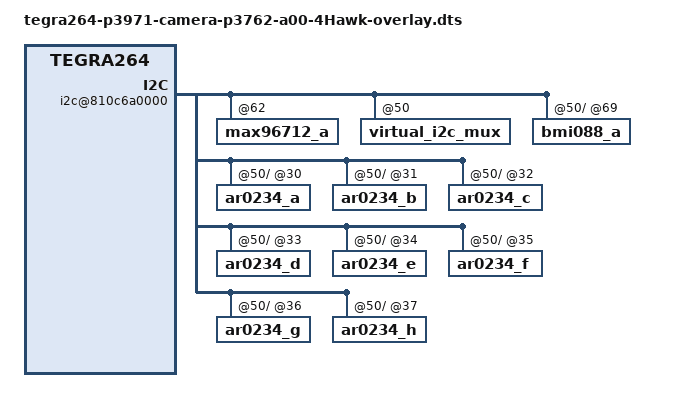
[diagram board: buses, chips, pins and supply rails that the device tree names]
// SPDX-License-Identifier: GPL-2.0-only
// SPDX-FileCopyrightText: Copyright (c) 2025, NVIDIA CORPORATION & AFFILIATES. All rights reserved.

/dts-v1/;
/plugin/;

#include "tegra264-p3971-camera-p3762-a00.dtsi"

#define JETSON_COMPATIBLE	"nvidia,p3971-0089+p3834-0008", "nvidia,p3971-0050+p3834-0005", "nvidia,p3971-0080+p3834-0008", "nvidia,p3834-0008", "nvidia,tegra264"

/ {
	overlay-name = "Jetson Camera 4-Hawk p3762 module";
	jetson-header-name = "Jetson AGX CSI Connector";
	compatible = JETSON_COMPATIBLE;

	fragment-camera-hawk-owl@0 {
		target-path = "/";
		__overlay__ {
			tegra-capture-vi {
				num-channels = <8>;
				ports {
					#address-cells = <1>;
					#size-cells = <0>;
					port@0 {
						status = "okay";
					};
					port@1 {
						status = "okay";
					};
					port@2 {
						status = "okay";
					};
					port@3 {
						status = "okay";
					};
					port@4 {
						status = "okay";
					};
					port@5 {
						status = "okay";
					};
					port@6 {
						status = "okay";
					};
					port@7 {
						status = "okay";
					};
					port@8 {
						status = "disabled";
					};
					port@9 {
						status = "disabled";
					};
					port@10 {
						status = "disabled";
					};
					port@11 {
						status = "disabled";
					};
				};
			};
			bus@0 {
				host1x@8181200000 {
					nvcsi@8188000000 {
						num-channels = <8>;
						#address-cells = <1>;
						#size-cells = <0>;
						channel@0 {
							status = "okay";
						};
						channel@1 {
							status = "okay";
						};
						channel@2 {
							status = "okay";
						};
						channel@3 {
							status = "okay";
						};
						channel@4 {
							status = "okay";
						};
						channel@5 {
							status = "okay";
						};
						channel@6 {
							status = "okay";
						};
						channel@7 {
							status = "okay";
						};
						channel@8 {
							status = "disabled";
						};
						channel@9 {
							status = "disabled";
						};
						channel@10 {
							status = "disabled";
						};
						channel@11 {
							status = "disabled";
						};
					};
				};
				i2c@810c6d0000 {
					max96712_b@62 {
						status = "disabled";
					};
					ar0234_i@30 {
						status = "disabled";
					};
					ar0234_j@32 {
						status = "disabled";
					};
					ar0234_k@34 {
						status = "disabled";
					};
					ar0234_l@36 {
						status = "disabled";
					};
				};
				i2c@810c6a0000 {
					max96712_a@62 {
						status = "okay";
					};
					virtual_i2c_mux@50 {
						status = "okay";
						i2c@0 {
							bmi088_a@69 {
								status = "okay";
							};
							ar0234_a@30 {
								status = "okay";
							};
							ar0234_b@31 {
								status = "okay";
							};
						};
						i2c@1 {
							ar0234_c@32 {
								status = "okay";
							};
							ar0234_d@33 {
								status = "okay";
							};
						};
						i2c@2 {
							ar0234_e@34 {
								status = "okay";
							};
							ar0234_f@35 {
								status = "okay";
							};
						};
						i2c@3 {
							ar0234_g@36 {
								status = "okay";
							};
							ar0234_h@37 {
								status = "okay";
							};
						};
					};
				};
			};
		};
	};
};
